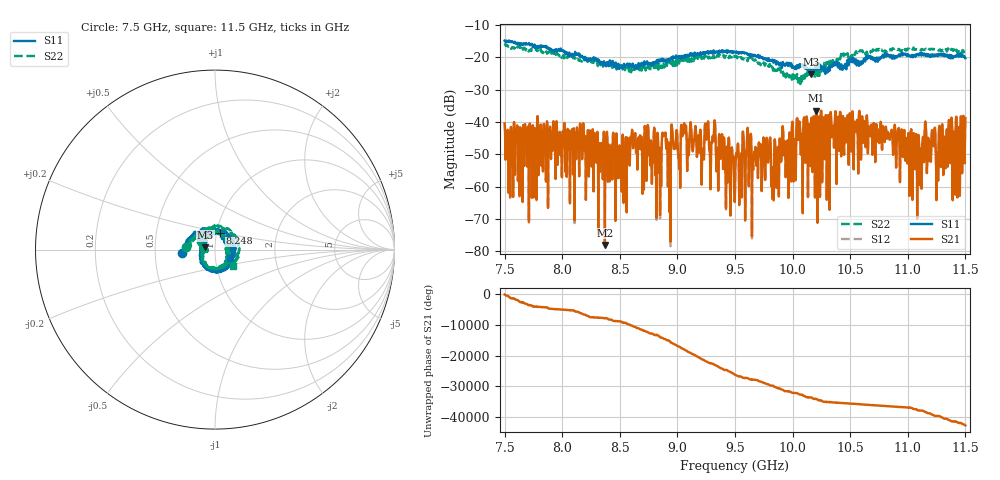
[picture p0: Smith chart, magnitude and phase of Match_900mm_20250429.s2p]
#  HZ  S  DB  R  50.00
! Rohde & Schwarz ZVA40 2Ports - Version 4.11 - 1145.1110k40 SN: 100216
! Date: 2025-04-29 18:39:01
! Measurements: S11 S21 S12 S22
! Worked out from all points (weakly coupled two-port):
!   5001 points, 7.5 GHz to 11.5 GHz, reference 50 ohm
!   highest |S21| = -36.52 dB at 10.21 GHz (marker M1); lowest = -78.1 dB at 8.37 GHz (marker M2)
!   lowest |S11| = -25.2 dB at 10.16 GHz (marker M3), VSWR 1.12, Z = 44.9 + j1.06 ohm
!   |S11| at or under -10 dB: start of sweep to end of sweep
!   |S22| runs from -28.3 to -15.7 dB; largest |S21 - S12| = 0.00016
!   S11 on the Smith chart (normalised r, x): 7.5 GHz: 0.69, -0.02; 8.248 GHz: 1.03, +0.19; 11.5 GHz: 1.19, -0.10
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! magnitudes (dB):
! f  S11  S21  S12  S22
! 7.5 GHz  -14.8  -40.4  -40.4  -15.7
! 8.167 GHz  -19.6  -45.9  -45.9  -21.3
! 8.248 GHz  -20.4  -47.3  -47.3  -21.0
! 8.37 GHz  -22.1  -78.1  -74.6  -22.0
! 8.526 GHz  -23.0  -44.1  -44.0  -23.6
! 8.617 GHz  -22.6  -47.3  -47.3  -23.8
! 8.834 GHz  -21.6  -48.5  -48.4  -23.8
! 8.883 GHz  -21.2  -43.8  -43.7  -22.6
! 8.923 GHz  -20.6  -46.6  -46.6  -22.0
! 9.05 GHz  -19.9  -41.8  -41.7  -21.7
! 9.211 GHz  -19.0  -57.0  -57.0  -20.5
! 9.254 GHz  -18.6  -45.3  -45.3  -20.2
! 9.5 GHz  -18.3  -59.7  -60.0  -19.6
! 9.622 GHz  -19.0  -53.7  -53.7  -20.2
! 9.831 GHz  -21.4  -54.9  -54.8  -24.1
! 9.903 GHz  -22.5  -51.0  -50.9  -25.0
! 10.16 GHz  -25.2  -41.5  -41.5  -26.0
! 10.17 GHz  -23.8  -40.1  -40.0  -24.1
! 10.21 GHz  -22.4  -36.5  -36.5  -24.6
! 10.83 GHz  -19.4  -44.3  -44.2  -18.1
! 11.1 GHz  -19.3  -50.1  -50.1  -17.5
! 11.5 GHz  -20.3  -38.8  -38.7  -17.7
